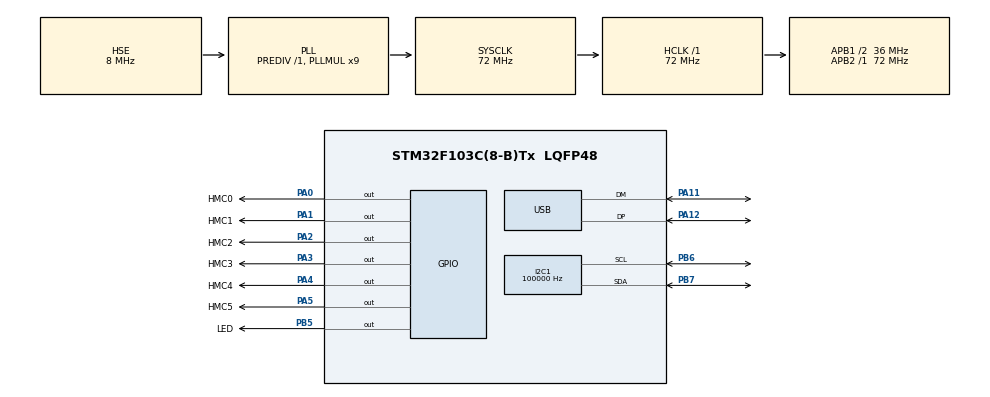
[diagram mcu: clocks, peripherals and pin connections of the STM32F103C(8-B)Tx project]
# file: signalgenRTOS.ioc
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FREERTOS.Tasks01=defaultTask,0,128,StartDefaultTask,Default,NULL,Dynamic,NULL,NULL;mainTask,0,128,MainTask,Default,NULL,Dynamic,NULL,NULL;usbcomTask,0,128,USBComTask,Default,NULL,Dynamic,NULL,NULL
I2C1.ClockSpeed=100000
IWDG.Prescaler=IWDG_PRESCALER_64
IWDG.Reload=1000
Mcu.Family=STM32F1
Mcu.Name=STM32F103C(8-B)Tx
Mcu.Package=LQFP48
NVIC.PriorityGroup=NVIC_PRIORITYGROUP_4
NVIC.TIM3_IRQn=true\:15\:0\:false\:false\:true\:false\:false\:true\:true
NVIC.TimeBase=TIM3_IRQn
NVIC.TimeBaseIP=TIM3
NVIC.USB_HP_CAN1_TX_IRQn=true\:5\:0\:false\:false\:true\:true\:true\:true\:true
NVIC.USB_LP_CAN1_RX0_IRQn=true\:5\:0\:false\:false\:true\:true\:false\:true\:true
PA0-WKUP.GPIO_Label=HMC0
PA0-WKUP.PinState=GPIO_PIN_SET
PA0-WKUP.Signal=GPIO_Output
PA1.GPIO_Label=HMC1
PA1.PinState=GPIO_PIN_SET
PA1.Signal=GPIO_Output
PA11.Mode=Device
PA11.Signal=USB_DM
PA12.Mode=Device
PA12.Signal=USB_DP
PA2.GPIO_Label=HMC2
PA2.PinState=GPIO_PIN_SET
PA2.Signal=GPIO_Output
PA3.GPIO_Label=HMC3
PA3.PinState=GPIO_PIN_SET
PA3.Signal=GPIO_Output
PA4.GPIO_Label=HMC4
PA4.PinState=GPIO_PIN_SET
PA4.Signal=GPIO_Output
PA5.GPIO_Label=HMC5
PA5.PinState=GPIO_PIN_SET
PA5.Signal=GPIO_Output
PB5.GPIO_Label=LED
PB5.Signal=GPIO_Output
PB6.Mode=I2C
PB6.Signal=I2C1_SCL
PB7.Mode=I2C
PB7.Signal=I2C1_SDA
PD0-OSC_IN.Mode=HSE-External-Oscillator
PD0-OSC_IN.Signal=RCC_OSC_IN
PD1-OSC_OUT.Mode=HSE-External-Oscillator
PD1-OSC_OUT.Signal=RCC_OSC_OUT
ProjectManager.HeapSize=0x400
ProjectManager.StackSize=0x400
ProjectManager.TargetToolchain=MDK-ARM V5.32
RCC.AHBFreq_Value=72000000
RCC.APB1CLKDivider=RCC_HCLK_DIV2
RCC.APB1Freq_Value=36000000
RCC.APB1TimFreq_Value=72000000
RCC.APB2Freq_Value=72000000
RCC.APB2TimFreq_Value=72000000
RCC.HCLKFreq_Value=72000000
RCC.PLLMUL=RCC_PLL_MUL9
RCC.PLLSourceVirtual=RCC_PLLSOURCE_HSE
RCC.SYSCLKFreq_VALUE=72000000
RCC.SYSCLKSource=RCC_SYSCLKSOURCE_PLLCLK
RCC.USBFreq_Value=48000000
RCC.USBPrescaler=RCC_USBCLKSOURCE_PLL_DIV1_5
USB_DEVICE.CLASS_NAME_FS=CDC
USB_DEVICE.VirtualMode=Cdc
USB_DEVICE.VirtualModeFS=Cdc_FS
VP_FREERTOS_VS_CMSIS_V1.Mode=CMSIS_V1
VP_IWDG_VS_IWDG.Mode=IWDG_Activate
VP_SYS_VS_ND.Mode=No_Debug
VP_SYS_VS_tim3.Mode=TIM3
VP_USB_DEVICE_VS_USB_DEVICE_CDC_FS.Mode=CDC_FS
board=custom

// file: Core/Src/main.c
/* USER CODE BEGIN Header */
/**
  ******************************************************************************
  * @file           : main.c
  * @brief          : Main program body
  ******************************************************************************
  * @attention
  *
  * Copyright (c) 2023 STMicroelectronics.
  * All rights reserved.
  *
  * This software is licensed under terms that can be found in the LICENSE file
  * in the root directory of this software component.
  * If no LICENSE file comes with this software, it is provided AS-IS.
  *
  ******************************************************************************
  */
/* USER CODE END Header */
#include "main.h"
#include "cmsis_os.h"
#include "i2c.h"
#include "iwdg.h"
#include "usb_device.h"
#include "gpio.h"

/* USER CODE BEGIN Includes */
#include "ADF4351.h"
#include "usbd_cdc_if.h"
/* USER CODE END Includes */

/* USER CODE BEGIN PD */
//# define EEPROM_SAVE						//启用EEPROM保存频率、衰减数据
/* USER CODE END PD */

void SystemClock_Config(void);
void MX_FREERTOS_Init(void);

int main(void)
{

  /* MCU Configuration--------------------------------------------------------*/

  /* Reset of all peripherals, Initializes the Flash interface and the Systick. */
  HAL_Init();

  /* Configure the system clock */
  SystemClock_Config();

  /* USER CODE BEGIN SysInit */
  HAL_Delay(2000);          //延时等待4351复位
  /* USER CODE END SysInit */

  /* Initialize all configured peripherals */
  MX_GPIO_Init();
  MX_IWDG_Init();
  MX_I2C1_Init();
  /* USER CODE BEGIN 2 */
  ADF4351Init();
  /* USER CODE END 2 */

  /* Call init function for freertos objects (in freertos.c) */
  MX_FREERTOS_Init();

  /* Start scheduler */
  osKernelStart();

  /* We should never get here as control is now taken by the scheduler */
  /* Infinite loop */
  while (1)
  {

  }
}

void SystemClock_Config(void)
{
  RCC_OscInitTypeDef RCC_OscInitStruct = {0};
  RCC_ClkInitTypeDef RCC_ClkInitStruct = {0};
  RCC_PeriphCLKInitTypeDef PeriphClkInit = {0};

  /** Initializes the RCC Oscillators according to the specified parameters
  * in the RCC_OscInitTypeDef structure.
  */
  RCC_OscInitStruct.OscillatorType = RCC_OSCILLATORTYPE_LSI|RCC_OSCILLATORTYPE_HSE;
  RCC_OscInitStruct.HSEState = RCC_HSE_ON;
  RCC_OscInitStruct.HSEPredivValue = RCC_HSE_PREDIV_DIV1;
  RCC_OscInitStruct.HSIState = RCC_HSI_ON;
  RCC_OscInitStruct.LSIState = RCC_LSI_ON;
  RCC_OscInitStruct.PLL.PLLState = RCC_PLL_ON;
  RCC_OscInitStruct.PLL.PLLSource = RCC_PLLSOURCE_HSE;
  RCC_OscInitStruct.PLL.PLLMUL = RCC_PLL_MUL9;
  if (HAL_RCC_OscConfig(&RCC_OscInitStruct) != HAL_OK)
  {
    Error_Handler();
  }

  /** Initializes the CPU, AHB and APB buses clocks
  */
  RCC_ClkInitStruct.ClockType = RCC_CLOCKTYPE_HCLK|RCC_CLOCKTYPE_SYSCLK
                              |RCC_CLOCKTYPE_PCLK1|RCC_CLOCKTYPE_PCLK2;
  RCC_ClkInitStruct.SYSCLKSource = RCC_SYSCLKSOURCE_PLLCLK;
  RCC_ClkInitStruct.AHBCLKDivider = RCC_SYSCLK_DIV1;
  RCC_ClkInitStruct.APB1CLKDivider = RCC_HCLK_DIV2;
  RCC_ClkInitStruct.APB2CLKDivider = RCC_HCLK_DIV1;

  if (HAL_RCC_ClockConfig(&RCC_ClkInitStruct, FLASH_LATENCY_2) != HAL_OK)
  {
    Error_Handler();
  }
  PeriphClkInit.PeriphClockSelection = RCC_PERIPHCLK_USB;
  PeriphClkInit.UsbClockSelection = RCC_USBCLKSOURCE_PLL_DIV1_5;
  if (HAL_RCCEx_PeriphCLKConfig(&PeriphClkInit) != HAL_OK)
  {
    Error_Handler();
  }
}

void HAL_TIM_PeriodElapsedCallback(TIM_HandleTypeDef *htim)
{
  if (htim->Instance == TIM3) {
    HAL_IncTick();
  }
}

void Error_Handler(void)
{
  __disable_irq();
  while (1)
  {
  }
}

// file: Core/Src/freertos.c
/* USER CODE BEGIN Header */
/**
  ******************************************************************************
  * File Name          : freertos.c
  * Description        : Code for freertos applications
  ******************************************************************************
  * @attention
  *
  * Copyright (c) 2023 STMicroelectronics.
  * All rights reserved.
  *
  * This software is licensed under terms that can be found in the LICENSE file
  * in the root directory of this software component.
  * If no LICENSE file comes with this software, it is provided AS-IS.
  *
  ******************************************************************************
  */
/* USER CODE END Header */

#include "FreeRTOS.h"
#include "task.h"
#include "main.h"
#include "cmsis_os.h"

/* USER CODE BEGIN Includes */
#include "iwdg.h"
#include "usbd_cdc_if.h"
#include "ADF4351.h"
#include "gpio.h"
#include "i2c.h"
/* USER CODE END Includes */

/* USER CODE BEGIN Variables */
float freq;
int atten;

extern I2C_HandleTypeDef hi2c1;

/* USER CODE END Variables */
osThreadId defaultTaskHandle;
osThreadId mainTaskHandle;
osThreadId usbcomTaskHandle;

/* USER CODE BEGIN FunctionPrototypes */
float FreqGet(char *freqstr);       //获取USB串口收到的频率MHz
float AttenGet(char *attenstr);     //获取USB串口收到的衰减值DB
/* USER CODE END FunctionPrototypes */

void StartDefaultTask(void const * argument);
void MainTask(void const * argument);
void USBComTask(void const * argument);

extern void MX_USB_DEVICE_Init(void);
void MX_FREERTOS_Init(void); /* (MISRA C 2004 rule 8.1) */

/* GetIdleTaskMemory prototype (linked to static allocation support) */
void vApplicationGetIdleTaskMemory( StaticTask_t **ppxIdleTaskTCBBuffer, StackType_t **ppxIdleTaskStackBuffer, uint32_t *pulIdleTaskStackSize );

/* USER CODE BEGIN GET_IDLE_TASK_MEMORY */
static StaticTask_t xIdleTaskTCBBuffer;
static StackType_t xIdleStack[configMINIMAL_STACK_SIZE];

void vApplicationGetIdleTaskMemory( StaticTask_t **ppxIdleTaskTCBBuffer, StackType_t **ppxIdleTaskStackBuffer, uint32_t *pulIdleTaskStackSize )
{
  *ppxIdleTaskTCBBuffer = &xIdleTaskTCBBuffer;
  *ppxIdleTaskStackBuffer = &xIdleStack[0];
  *pulIdleTaskStackSize = configMINIMAL_STACK_SIZE;
  /* place for user code */
}
/* USER CODE END GET_IDLE_TASK_MEMORY */

void MX_FREERTOS_Init(void) {

  /* Create the thread(s) */
  /* definition and creation of defaultTask */
  osThreadDef(defaultTask, StartDefaultTask, osPriorityNormal, 0, 128);
  defaultTaskHandle = osThreadCreate(osThread(defaultTask), NULL);

  /* definition and creation of mainTask */
  osThreadDef(mainTask, MainTask, osPriorityNormal, 0, 128);
  mainTaskHandle = osThreadCreate(osThread(mainTask), NULL);

  /* definition and creation of usbcomTask */
  osThreadDef(usbcomTask, USBComTask, osPriorityNormal, 0, 128);
  usbcomTaskHandle = osThreadCreate(osThread(usbcomTask), NULL);

}

void StartDefaultTask(void const * argument)
{
  /* init code for USB_DEVICE */
  MX_USB_DEVICE_Init();
  for(;;)
  {
    osDelay(1);
  }
}

void MainTask(void const * argument)
{
  /* USER CODE BEGIN MainTask */
    int countnum=0;

//  test new EEPROM
//	char FAtemp[4] = {0xFF,0xFF,0xFF,0xFF};
//	HAL_I2C_Mem_Write(&hi2c1,AT24C02_Write,0,I2C_MEMADD_SIZE_8BIT, (uint8_t *)&FAtemp,4,10000);
//	HAL_Delay(30);
//	HAL_I2C_Mem_Write(&hi2c1,AT24C02_Write,8,I2C_MEMADD_SIZE_8BIT, (uint8_t *)&FAtemp,4,10000);

#ifdef EEPROM_SAVE
	usb_printf("EEPROM AT24C02 SAVE FUNCTION\r\n");
	HAL_I2C_Mem_Read(&hi2c1,AT24C02_Read,0,I2C_MEMADD_SIZE_8BIT,(uint8_t *)&freq,4,10000);
	HAL_Delay(30);
	HAL_I2C_Mem_Read(&hi2c1,AT24C02_Read,8,I2C_MEMADD_SIZE_8BIT,(uint8_t *)&atten,4,10000);
#endif
	if((atten < 0) || (atten > 32))		atten = ATTENINIT;  		//衰减超出
	if((freq < 35) || (freq >= 4400))  	freq  = FREQUENCYINIT;    	//场强超出
    HMC_WriteData(atten);
    ADF4351Init();
    ADF4351WriteFreq(freq);
  /* Infinite loop */
  for(;;)
  {
    if(countnum % 20 == 0)   HAL_GPIO_TogglePin(LED_GPIO_Port, LED_Pin);    //指示灯

    if(countnum % 50 == 0) HAL_IWDG_Refresh(&hiwdg);    					//0.5秒喂狗，1.6秒溢出

    //if(countnum % 100 == 10) usb_printf("countnum=%d\r\n", countnum);     //1秒,输出计数，测试用

    if(countnum % 1000 == 20){
		usb_printf("Current Frequency=%.2f\r\n", freq);        				//10秒,调试输出
		usb_printf("Current atten value=%d\r\n", atten);
	}

    if(countnum % 3600000 == 10000){	                 //定时10小时间隔，刷新频率，初始化
		//atten = 20;                                	//衰减20/2=10dB 测试用
        HMC_WriteData(atten);
        ADF4351Init();
        ADF4351WriteFreq(freq);
    }

    if(countnum % 360000 == 5000){	                     //定时1小时间隔，刷新频率
		//atten = 20;                                	//衰减20/2=10dB 测试用
        HMC_WriteData(atten);
        ADF4351WriteFreq(freq);
    }

    countnum++;
    if(countnum > 8640000)   countnum = 0;      		//24小时清0

    osDelay(10);                                		//10毫秒定时
  }
  /* USER CODE END MainTask */
}

void USBComTask(void const * argument)
{
  /* USER CODE BEGIN USBComTask */
  const char *strptr;	    //指针变量；
  char tempstr[30];         //临时字符串（USB串口接收到的数据缓存）
  int i;                    //临时变量
  float FAtemp;
  uint32_t NotifyValue;

  int attentemp;
  float freqtemp;
  //uint8_t j;

  /* Infinite loop */
  for(;;)
  {
      NotifyValue=ulTaskNotifyTake(pdTRUE,portMAX_DELAY);       //等待通知  from usbd_cdc_if.c
	  if(NotifyValue == 1){
          if(RxLen){                                          //接收到usb口的指令
            usb_printf("recevied command= %s  rxlen = %d\r\n", pRx, RxLen);     //收到的命令
            if((RxLen < 2) || (RxLen > 10)){                          //命令长度不合法
                usb_printf("Length Wrong!!\r\n");
            }else{
                for (i = 0; i < RxLen; i++ )   tempstr[i] = *(pRx+i);	   //拷贝接收到的数据。
                tempstr[RxLen] = 0;
                if(tempstr[0]==102) tempstr[0]=70;      //f-->F
                if(tempstr[0]== 97) tempstr[0]=65;       //a-->A
                /*判断频率数据*/
                strptr = strstr (tempstr, "F");         //判断收到频率数据
                if (strptr){
                    FAtemp = FreqGet(tempstr);
                    if(FAtemp != -1){                   //获取当前的频率
                        ADF4351WriteFreq(FAtemp);       //设置新的频率
						freq = FAtemp;
                        usb_printf("Get Frequency！%.2f\r\n", FAtemp);

						/*********************   IIC EEPROM frequency write   ************************/
						if(HAL_I2C_Mem_Write(&hi2c1,AT24C02_Write,0,I2C_MEMADD_SIZE_8BIT, (uint8_t *)&FAtemp,4,10000)==HAL_OK)
						{
							usb_printf("EEPROM AT24C02 Write Test OK 1 \n");
						}
						else
						{
							usb_printf("EEPROM AT24C02 Write Test False");
							HAL_Delay(50);
						}
						HAL_Delay(30);
						HAL_I2C_Mem_Read(&hi2c1,AT24C02_Read,0,I2C_MEMADD_SIZE_8BIT,(uint8_t *)&freqtemp,4,10000);

						usb_printf("%.2f  ",freqtemp);
						if (FAtemp == freqtemp)		usb_printf("frequency data write and read ok!\r\n");

                    } else{
                        usb_printf("Frequency wrong!(F35-F4400 MHz)\r\n");
                      }
                    tempstr[0] = 0;                     //将临时字符串清0
				}

                /*判断衰减数据*/
                strptr = strstr (tempstr, "A");         //判断收到衰减数据
                if (strptr){
                    FAtemp = AttenGet(tempstr);
                    if(FAtemp != -1){                   //设置新的衰减数据
                        usb_printf("Get attenuation！%.2f\r\n", FAtemp);
                        atten =  (int) (FAtemp*2);
                        usb_printf("set atten value=%d\r\n", atten);
                        HMC_WriteData(atten);

						    /*********************   IIC EEPROM atten write   ************************/
						if(HAL_I2C_Mem_Write(&hi2c1,AT24C02_Write,8,I2C_MEMADD_SIZE_8BIT, (uint8_t *)&atten,4,10000)==HAL_OK)
						{
							usb_printf("EEPROM AT24C02 Write Test OK 1 \n");
						}
						else
						{
							usb_printf("EEPROM AT24C02 Write Test False");
							HAL_Delay(50);
						}
						HAL_Delay(30);
						HAL_I2C_Mem_Read(&hi2c1,AT24C02_Read,8,I2C_MEMADD_SIZE_8BIT,(uint8_t *)&attentemp,4,10000);

						usb_printf("%d  ",attentemp);
						if (atten == attentemp)		usb_printf("atten data write and read ok!\r\n");

                    } else{
                        usb_printf("attenuation data wrong!(A0.5-32)\r\n");
                      }
                    tempstr[0] = 0;                     //将临时字符串清0
                }
            }
            RxLen = 0;
        }
    }

    osDelay(20);
  }
  /* USER CODE END USBComTask */
}

/* USER CODE BEGIN Application */
/* USER CODE BEGIN Header_USBComTask */
/**
* @brief 获取字符串中的频率，
* @param freqstr: 字符串   格式：F2546.1
* @retval 正常：浮点数代表频率，单位MHz; 不正常返回：-1
*/
float FreqGet(char *freqstr)
{
    const char *i;
    float freqtemp;
	i = strstr (freqstr , "F");							        //截取场强数据 +CSQ: 21,99

    freqtemp = atof(i+1);
    if((freqtemp < 35) || (freqtemp >= 4400))  freqtemp = -1;     //场强超出，设成一个标志为10
    return freqtemp;
}

/**
* @brief 获取字符串中的衰减值
* @param freqstr: 字符串   格式：a11   11 dB
* @retval 正常：浮点数代表衰减值，单位dB  不正常返回：-1
*/
float AttenGet(char *attenstr)
{
    const char *i;
    float attentemp;
	i = strstr (attenstr , "A");							    //截取场强数据 +CSQ: 21,99

    attentemp = atof(i+1);
    if((attentemp < 0) ||(attentemp > 32))  attentemp = -1;      //场强超出，设成一个标志为10
    return attentemp;
}
